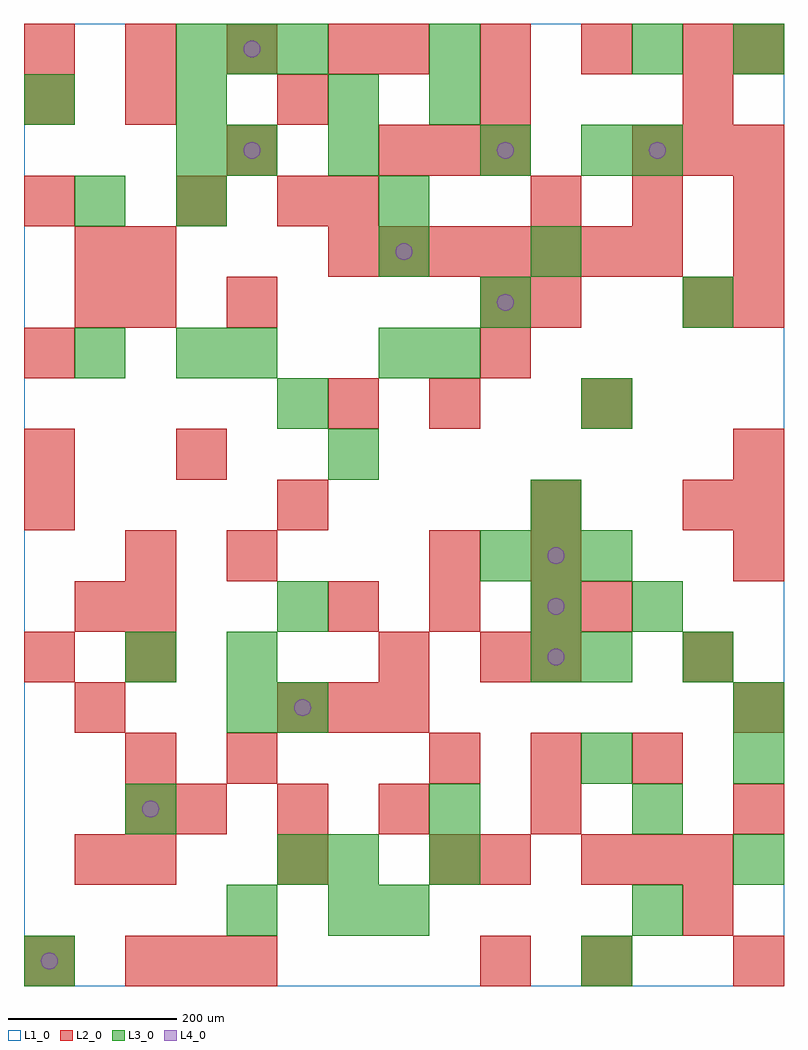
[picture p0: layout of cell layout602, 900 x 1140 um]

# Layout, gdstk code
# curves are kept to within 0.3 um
import gdstk
lib = gdstk.Library(unit=1e-6, precision=1e-09)
def R(c, l, rs):  # rectangles x0, y0, x1, y1
    for r in rs: c.add(gdstk.rectangle(r[:2], r[2:], *l))
def A(c, l, x, y, w, h, nx, ny, dx, dy):  # array of equal rectangles
    R(c, l, [(x+i*dx, y+j*dy, x+i*dx+w, y+j*dy+h) for i in range(nx) for j in range(ny)])
def P(c, l, *ps):  # polygons
    for p in ps: c.add(gdstk.Polygon(p, *l))
L1_0 = (1, 0)
L2_0 = (2, 0)
L3_0 = (3, 0)
L4_0 = (4, 0)

layout602 = lib.new_cell('layout602')
R(layout602, L1_0, [(0,0,900,1140)])
A(layout602, L2_0, 120, 0, 60, 60, 3, 1, 60, 0)
A(layout602, L2_0, 120, 120, 60, 60, 3, 1, 180, 0)
A(layout602, L2_0, 660, 120, 60, 60, 3, 1, 60, 0)
A(layout602, L2_0, 180, 180, 60, 60, 3, 1, 120, 0)
A(layout602, L2_0, 480, 240, 60, 60, 3, 1, 120, 0)
A(layout602, L2_0, 300, 300, 60, 60, 3, 1, 60, 0)
A(layout602, L2_0, 120, 360, 60, 60, 1, 3, 0, 60)
A(layout602, L2_0, 360, 420, 60, 60, 3, 1, 120, 0)
A(layout602, L2_0, 840, 480, 60, 60, 1, 3, 0, 60)
A(layout602, L2_0, 0, 540, 60, 60, 3, 1, 300, 0)
A(layout602, L2_0, 360, 840, 60, 60, 7, 1, 60, 0)
A(layout602, L2_0, 600, 900, 60, 60, 3, 1, 120, 0)
A(layout602, L2_0, 420, 960, 60, 60, 3, 1, 60, 0)
A(layout602, L2_0, 720, 960, 60, 60, 3, 1, 60, 0)
A(layout602, L2_0, 300, 1020, 60, 60, 3, 1, 240, 0)
A(layout602, L2_0, 0, 1080, 60, 60, 4, 1, 120, 0)
A(layout602, L2_0, 420, 1080, 60, 60, 4, 1, 120, 0)
R(layout602, L2_0, [(0,0,60,60), (540,0,600,60), (660,0,720,60), (840,0,900,60), (780,60,840,120), (60,120,120,180), (540,120,600,180), (120,180,180,240), (600,180,660,240), (840,180,900,240), (120,240,180,300), (240,240,300,300), (60,300,120,360), (840,300,900,360), (0,360,60,420), (420,360,480,420), (540,360,600,420), (600,360,660,420), (780,360,840,420), (60,420,120,480), (660,420,720,480), (240,480,300,540), (480,480,540,540), (600,480,660,540), (780,540,840,600), (0,600,60,660), (180,600,240,660), (360,660,420,720), (480,660,540,720), (660,660,720,720), (0,720,60,780), (540,720,600,780), (60,780,120,840), (120,780,180,840), (240,780,300,840), (540,780,600,840), (600,780,660,840), (780,780,840,840), (840,780,900,840), (60,840,120,900), (120,840,180,900), (840,840,900,900), (0,900,60,960), (180,900,240,960), (300,900,360,960), (360,900,420,960), (240,960,300,1020), (0,1020,60,1080), (120,1020,180,1080), (840,1080,900,1140)])
A(layout602, L3_0, 660, 360, 60, 60, 1, 3, 0, 300)
A(layout602, L3_0, 540, 480, 60, 60, 3, 1, 60, 0)
A(layout602, L3_0, 0, 1020, 60, 60, 3, 1, 180, 0)
A(layout602, L3_0, 180, 1080, 60, 60, 3, 1, 60, 0)
R(layout602, L3_0, [(0,0,60,60), (660,0,720,60), (240,60,300,120), (360,60,420,120), (420,60,480,120), (720,60,780,120), (300,120,360,180), (360,120,420,180), (480,120,540,180), (840,120,900,180), (120,180,180,240), (480,180,540,240), (720,180,780,240), (660,240,720,300), (840,240,900,300), (240,300,300,360), (300,300,360,360), (840,300,900,360), (120,360,180,420), (240,360,300,420), (600,360,660,420), (780,360,840,420), (300,420,360,480), (600,420,660,480), (720,420,780,480), (600,540,660,600), (360,600,420,660), (300,660,360,720), (60,720,120,780), (180,720,240,780), (240,720,300,780), (420,720,480,780), (480,720,540,780), (540,780,600,840), (780,780,840,840), (420,840,480,900), (600,840,660,900), (60,900,120,960), (180,900,240,960), (420,900,480,960), (180,960,240,1020), (240,960,300,1020), (360,960,420,1020), (540,960,600,1020), (720,960,780,1020), (480,1020,540,1080), (480,1080,540,1140), (720,1080,780,1140), (840,1080,900,1140)])
P(layout602, L4_0, [(40,30),(39.239,33.827),(37.071,37.071),(33.827,39.239),(30,40),(26.173,39.239),(22.929,37.071),(20.761,33.827),(20,30),(20.761,26.173),(22.929,22.929),(26.173,20.761),(30,20),(33.827,20.761),(37.071,22.929),(39.239,26.173)],
  [(160,210),(159.239,213.827),(157.071,217.071),(153.827,219.239),(150,220),(146.173,219.239),(142.929,217.071),(140.761,213.827),(140,210),(140.761,206.173),(142.929,202.929),(146.173,200.761),(150,200),(153.827,200.761),(157.071,202.929),(159.239,206.173)],
  [(280,990),(279.239,993.827),(277.071,997.071),(273.827,999.239),(270,1000),(266.173,999.239),(262.929,997.071),(260.761,993.827),(260,990),(260.761,986.173),(262.929,982.929),(266.173,980.761),(270,980),(273.827,980.761),(277.071,982.929),(279.239,986.173)],
  [(280,1110),(279.239,1113.827),(277.071,1117.071),(273.827,1119.239),(270,1120),(266.173,1119.239),(262.929,1117.071),(260.761,1113.827),(260,1110),(260.761,1106.173),(262.929,1102.929),(266.173,1100.761),(270,1100),(273.827,1100.761),(277.071,1102.929),(279.239,1106.173)],
  [(340,330),(339.239,333.827),(337.071,337.071),(333.827,339.239),(330,340),(326.173,339.239),(322.929,337.071),(320.761,333.827),(320,330),(320.761,326.173),(322.929,322.929),(326.173,320.761),(330,320),(333.827,320.761),(337.071,322.929),(339.239,326.173)],
  [(460,870),(459.239,873.827),(457.071,877.071),(453.827,879.239),(450,880),(446.173,879.239),(442.929,877.071),(440.761,873.827),(440,870),(440.761,866.173),(442.929,862.929),(446.173,860.761),(450,860),(453.827,860.761),(457.071,862.929),(459.239,866.173)],
  [(580,810),(579.239,813.827),(577.071,817.071),(573.827,819.239),(570,820),(566.173,819.239),(562.929,817.071),(560.761,813.827),(560,810),(560.761,806.173),(562.929,802.929),(566.173,800.761),(570,800),(573.827,800.761),(577.071,802.929),(579.239,806.173)],
  [(580,990),(579.239,993.827),(577.071,997.071),(573.827,999.239),(570,1000),(566.173,999.239),(562.929,997.071),(560.761,993.827),(560,990),(560.761,986.173),(562.929,982.929),(566.173,980.761),(570,980),(573.827,980.761),(577.071,982.929),(579.239,986.173)],
  [(640,390),(639.239,393.827),(637.071,397.071),(633.827,399.239),(630,400),(626.173,399.239),(622.929,397.071),(620.761,393.827),(620,390),(620.761,386.173),(622.929,382.929),(626.173,380.761),(630,380),(633.827,380.761),(637.071,382.929),(639.239,386.173)],
  [(640,450),(639.239,453.827),(637.071,457.071),(633.827,459.239),(630,460),(626.173,459.239),(622.929,457.071),(620.761,453.827),(620,450),(620.761,446.173),(622.929,442.929),(626.173,440.761),(630,440),(633.827,440.761),(637.071,442.929),(639.239,446.173)],
  [(640,510),(639.239,513.827),(637.071,517.071),(633.827,519.239),(630,520),(626.173,519.239),(622.929,517.071),(620.761,513.827),(620,510),(620.761,506.173),(622.929,502.929),(626.173,500.761),(630,500),(633.827,500.761),(637.071,502.929),(639.239,506.173)],
  [(760,990),(759.239,993.827),(757.071,997.071),(753.827,999.239),(750,1000),(746.173,999.239),(742.929,997.071),(740.761,993.827),(740,990),(740.761,986.173),(742.929,982.929),(746.173,980.761),(750,980),(753.827,980.761),(757.071,982.929),(759.239,986.173)])

lib.write_gds('layout602.gds')
